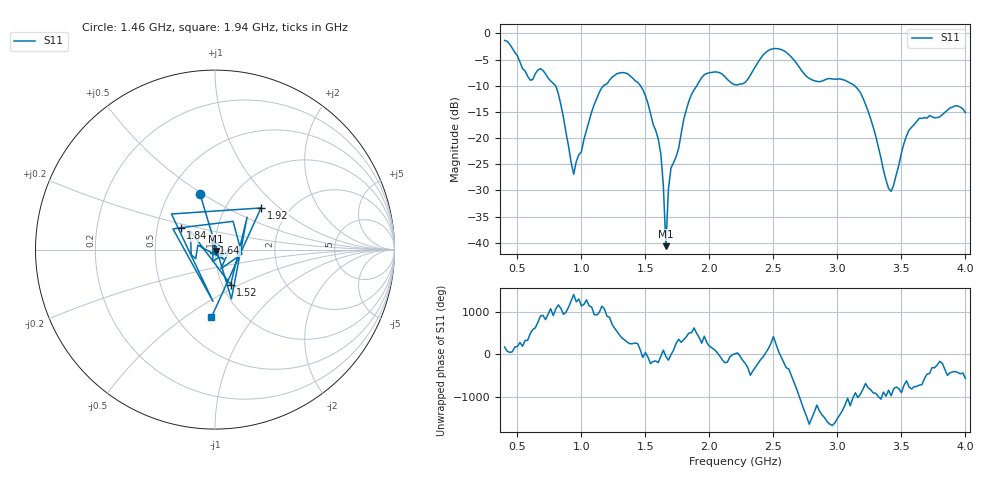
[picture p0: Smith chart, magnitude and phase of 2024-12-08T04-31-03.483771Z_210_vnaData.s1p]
!Created with skrf (http://scikit-rf.org).
# Hz S RI R 50.0
!freq ReS11 ImS11
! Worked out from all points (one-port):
!   181 points, 400 MHz to 4 GHz, reference 50 ohm
!   lowest |S11| = -40.6 dB at 1.66 GHz (marker M1), VSWR 1.02, Z = 50.6 - j0.71 ohm
!   |S11| at or under -10 dB: 798.5 MHz to 1.174 GHz (375.5 MHz wide, 38.1 % of centre); 1.461 GHz to 1.902 GHz (440.7 MHz wide, 26.2 % of centre); 3.134 GHz to end of sweep
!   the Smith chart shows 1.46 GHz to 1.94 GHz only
!   S11 on the Smith chart (normalised r, x): 1.46 GHz: 0.71, +0.49; 1.52 GHz: 1.10, -0.45; 1.64 GHz: 0.98, +0.07; 1.84 GHz: 0.66, +0.17; 1.92 GHz: 1.45, +0.76; 1.94 GHz: 0.72, -0.64
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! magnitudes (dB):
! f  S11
! 400 MHz  -1.4
! 600 MHz  -8.9
! 680 MHz  -6.7
! 800 MHz  -10.0
! 860 MHz  -16.1
! 940 MHz  -26.9
! 1.14 GHz  -11.3
! 1.3 GHz  -7.6
! 1.46 GHz  -10.0
! 1.52 GHz  -13.4
! 1.6 GHz  -20.1
! 1.64 GHz  -29.0
! 1.66 GHz  -40.6
! 1.68 GHz  -29.7
! 1.7 GHz  -25.7
! 1.76 GHz  -21.9
! 1.84 GHz  -12.9
! 1.92 GHz  -9.2
! 1.94 GHz  -8.4
! 2.2 GHz  -9.8
! 2.48 GHz  -3.0
! 2.66 GHz  -5.1
! 2.8 GHz  -8.9
! 3.1 GHz  -9.5
! 3.22 GHz  -13.6
! 3.42 GHz  -30.2
! 3.56 GHz  -18.5
! 4 GHz  -15.1
